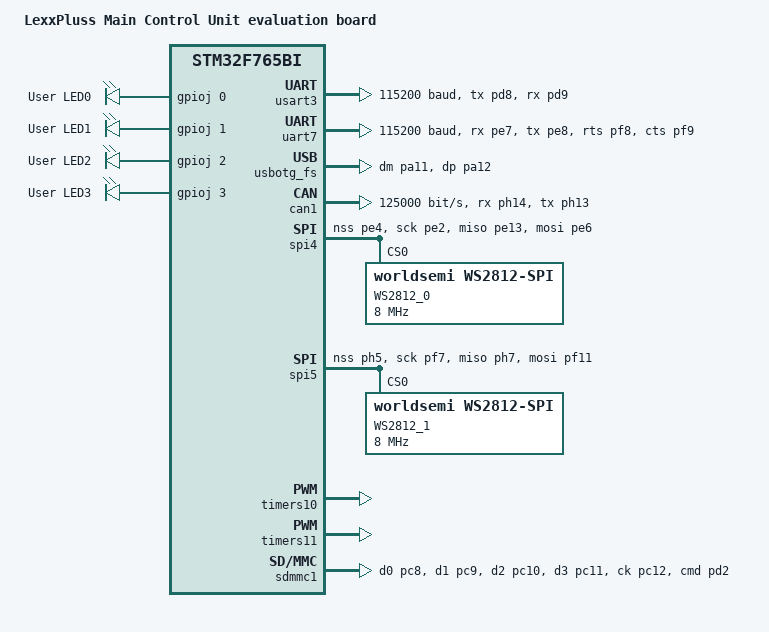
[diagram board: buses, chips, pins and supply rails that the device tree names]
/dts-v1/;
#include <st/f7/stm32f765Xi.dtsi>
#include <st/f7/stm32f765b(g-i)tx-pinctrl.dtsi>

/ {
	model = "LexxPluss Main Control Unit evaluation board";
	compatible = "st,stm32f765bi-lexxpluss";

	chosen {
		zephyr,console = &usart3;
		zephyr,shell-uart = &usart3;
		zephyr,sram = &sram0;
		zephyr,flash = &flash0;
		zephyr,dtcm = &dtcm;
		zephyr,can-primary = &can1;
	};

	leds {
		compatible = "gpio-leds";
		user_led_0: led_0 {
			gpios = <&gpioj 0 GPIO_ACTIVE_HIGH>;
			label = "User LED0";
		};
		user_led_1: led_1 {
			gpios = <&gpioj 1 GPIO_ACTIVE_HIGH>;
			label = "User LED1";
		};
		user_led_2: led_2 {
			gpios = <&gpioj 2 GPIO_ACTIVE_HIGH>;
			label = "User LED2";
		};
		user_led_3: led_3 {
			gpios = <&gpioj 3 GPIO_ACTIVE_HIGH>;
			label = "User LED3";
		};
	};

	sensors {
		us0: hc-sr04-0 {
			compatible = "elecfreaks,hc-sr04";
			label = "HC-SR04_0";
			trig-gpios = <&gpiog 2 GPIO_ACTIVE_HIGH>;
			echo-gpios = <&gpiog 3 GPIO_ACTIVE_HIGH>;
			status = "okay";
		};
		us1: hc-sr04-1 {
			compatible = "elecfreaks,hc-sr04";
			label = "HC-SR04_1";
			trig-gpios = <&gpiok 1 GPIO_ACTIVE_HIGH>;
			echo-gpios = <&gpiok 2 GPIO_ACTIVE_HIGH>;
			status = "okay";
		};
		us2: hc-sr04-2 {
			compatible = "elecfreaks,hc-sr04";
			label = "HC-SR04_2";
			trig-gpios = <&gpiog 4 GPIO_ACTIVE_HIGH>;
			echo-gpios = <&gpiog 5 GPIO_ACTIVE_HIGH>;
			status = "okay";
		};
		us3: hc-sr04-3 {
			compatible = "elecfreaks,hc-sr04";
			label = "HC-SR04_3";
			trig-gpios = <&gpiog 6 GPIO_ACTIVE_HIGH>;
			echo-gpios = <&gpiog 7 GPIO_ACTIVE_HIGH>;
			status = "okay";
		};
	};

	aliases {
		led0 = &user_led_0;
		led1 = &user_led_1;
		led2 = &user_led_2;
		led3 = &user_led_3;
	};
};

&usart3 {
	pinctrl-0 = <&usart3_tx_pd8 &usart3_rx_pd9>;
	current-speed = <115200>;
	status = "okay";
};

&uart7 {
	pinctrl-0 = <&uart7_rx_pe7 &uart7_tx_pe8 &uart7_rts_pf8 &uart7_cts_pf9>;
	current-speed = <115200>;
	status = "okay";
};

&usbotg_fs {
	pinctrl-0 = <&usb_otg_fs_dm_pa11 &usb_otg_fs_dp_pa12>;
	status = "okay";
};

&can1 {
	pinctrl-0 = <&can1_rx_ph14 &can1_tx_ph13>;
	bus-speed = <125000>;
	sjw = <1>;
	prop-seg = <0>;
	phase-seg1 = <6>;
	phase-seg2 = <5>;
	status = "okay";
};

&spi4 {
	pinctrl-0 = <&spi4_nss_pe4 &spi4_sck_pe2 &spi4_miso_pe13 &spi4_mosi_pe6>;
	status = "okay";
	led_strip0: ws2812@0 {
		compatible = "worldsemi,ws2812-spi";
		label = "WS2812_0";
		reg = <0>;
		spi-max-frequency = <8000000>;
		chain-length = <8>;
		spi-one-frame = <0x7c>;
		spi-zero-frame = <0x60>;
	};

};

&spi5 {
	pinctrl-0 = <&spi5_nss_ph5 &spi5_sck_pf7 &spi5_miso_ph7 &spi5_mosi_pf11>;
	status = "okay";
	led_strip1: ws2812@1 {
		compatible = "worldsemi,ws2812-spi";
		label = "WS2812_1";
		reg = <0>;
		spi-max-frequency = <8000000>;
		chain-length = <8>;
		spi-one-frame = <0x7c>;
		spi-zero-frame = <0x60>;
	};

};

&timers10 {
	status = "okay";
	pwm {
		pinctrl-0 = <&tim10_ch1_pb8>;
		status = "okay";
	};
};

&timers11 {
	status = "okay";
	pwm {
		pinctrl-0 = <&tim11_ch1_pb9>;
		status = "okay";
	};
};

&sdmmc1 {
	pinctrl-0 = <&sdmmc1_d0_pc8 &sdmmc1_d1_pc9 &sdmmc1_d2_pc10 &sdmmc1_d3_pc11 &sdmmc1_ck_pc12 &sdmmc1_cmd_pd2>;
	status = "okay";
};
